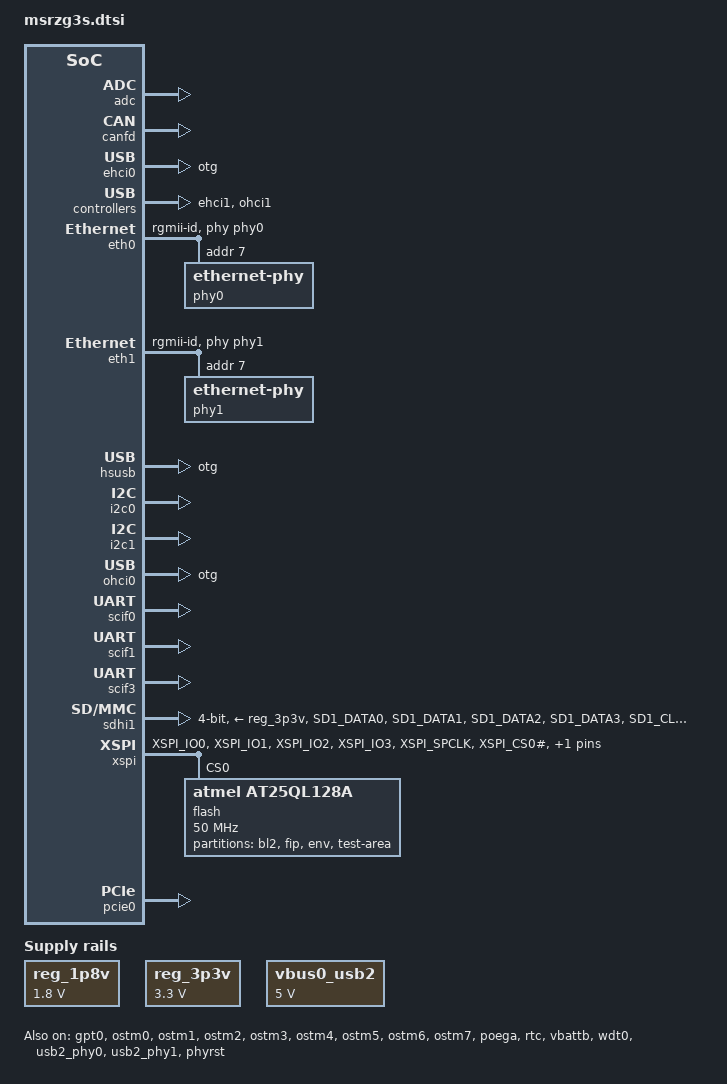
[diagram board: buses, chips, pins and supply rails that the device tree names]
// SPDX-License-Identifier: (GPL-2.0-only OR BSD-2-Clause)
/*
 * Device Tree Source for the ARIES embedded MSRZG3S OSM on G3SBerry board
 *
 * Copyright (C) 2025 ARIES Embedded
 */

#include <dt-bindings/gpio/gpio.h>
#include <dt-bindings/pinctrl/rzg2l-pinctrl.h>
#include <dt-bindings/input/input.h>

/ {
	aliases {
		serial0 = &scif0;
		serial1 = &scif1;
		serial2 = &scif3;
		i2c0 = &i2c0;
		i2c1 = &i2c1;
		mmc0 = &sdhi0;
		mmc1 = &sdhi1;
		eth0 = &eth0;
		eth1 = &eth1;
	};

	chosen {
		bootargs = "ignore_loglevel";
		stdout-path = "serial0:115200n8";
	};

	reg_1p8v: regulator0 {
		compatible = "regulator-fixed";
		regulator-name = "fixed-1.8V";
		regulator-min-microvolt = <1800000>;
		regulator-max-microvolt = <1800000>;
		regulator-boot-on;
		regulator-always-on;
	};

	reg_3p3v: regulator1 {
		compatible = "regulator-fixed";
		regulator-name = "fixed-3.3V";
		regulator-min-microvolt = <3300000>;
		regulator-max-microvolt = <3300000>;
		regulator-boot-on;
		regulator-always-on;
	};

	vbus0_usb2: regulator-vbus0-usb2 {
		compatible = "regulator-fixed";
		regulator-name = "USB20_VBUS0";
		regulator-min-microvolt = <5000000>;
		regulator-max-microvolt = <5000000>;
	};

};

&adc {
	pinctrl-0 = <&adc_pins>;
	pinctrl-names = "default";

	status = "okay";
};

&canfd {
	pinctrl-0 = <&can0_pins &can1_pins>;
	pinctrl-names = "default";
	status = "okay";

	channel0 {
		status = "okay";
	};

	channel1 {
		status = "okay";
	};
};

&ehci0 {
	dr_mode = "otg";
	status = "okay";
};

&ehci1 {
	status = "okay";
};

&eth0 {
	pinctrl-0 = <&eth0_pins>;
	pinctrl-names = "default";
	phy-handle = <&phy0>;
	phy-mode = "rgmii-id";
	status = "okay";

	phy0: ethernet-phy@7 {
		reg = <7>;
		rxc-skew-ps = <2400>;
		txc-skew-ps = <2400>;
		rxdv-skew-ps = <0>;
		txdv-skew-ps = <0>;
		rxd0-skew-ps = <0>;
		rxd1-skew-ps = <0>;
		rxd2-skew-ps = <0>;
		rxd3-skew-ps = <0>;
		txd0-skew-ps = <0>;
		txd1-skew-ps = <0>;
		txd2-skew-ps = <0>;
		txd3-skew-ps = <0>;
	};
};

&eth1 {
	pinctrl-0 = <&eth1_pins>;
	pinctrl-names = "default";
	phy-handle = <&phy1>;
	phy-mode = "rgmii-id";
	status = "okay";

	phy1: ethernet-phy@7 {
		reg = <7>;
		rxc-skew-ps = <2400>;
		txc-skew-ps = <2400>;
		rxdv-skew-psec = <0>;
		txen-skew-psec = <0>;
		rxd0-skew-psec = <0>;
		rxd1-skew-psec = <0>;
		rxd2-skew-psec = <0>;
		rxd3-skew-psec = <0>;
		txd0-skew-psec = <0>;
		txd1-skew-psec = <0>;
		txd2-skew-psec = <0>;
		txd3-skew-psec = <0>;
	};
};

&extal_clk {
	clock-frequency = <24000000>;
};

&hsusb {
	dr_mode = "otg";
	status = "okay";
};

&i2c0 {
	status = "okay";
};

&i2c1 {
	status = "okay";
};

&gpt0 {
	pinctrl-0 = <&gpt0_pins>;
	pinctrl-names = "default";
	channel = "both_AB";
	poeg = <&poega>;
	status = "okay";
};

&ohci0 {
	dr_mode = "otg";
	status = "okay";
};

&ohci1 {
	status = "okay";
};

&ostm0 {
	status = "okay";
};

&ostm1 {
	status = "okay";
};

&ostm2 {
	status = "okay";
};

&ostm3 {
	status = "okay";
};

&ostm4 {
	status = "okay";
};

&ostm5 {
	status = "okay";
};

&ostm6 {
	status = "okay";
};

&ostm7 {
	status = "okay";
};

&pinctrl {
	adc_pins: adc {
		pinmux = <RZG2L_PORT_PINMUX(5, 1, 4)>; /* ADC_TRG */
	};

	eth0_pins: eth0 {
		txc {
			pinmux = <RZG2L_PORT_PINMUX(1, 0, 1)>;  /* ET0_TXC */
			power-source = <1800>;
			output-enable;
			input-enable;
			drive-strength-microamp = <5200>;
		};

		tx_ctl {
			pinmux = <RZG2L_PORT_PINMUX(1, 1, 1)>;  /* ET0_TX_CTL */
			power-source = <1800>;
			output-enable;
			drive-strength-microamp = <5200>;
		};

		mux {
			pinmux = <RZG2L_PORT_PINMUX(1, 2, 1)>,	/* ET0_TXD0 */
				 <RZG2L_PORT_PINMUX(1, 3, 1)>,	/* ET0_TXD1 */
				 <RZG2L_PORT_PINMUX(1, 4, 1)>,	/* ET0_TXD2 */
				 <RZG2L_PORT_PINMUX(2, 0, 1)>,	/* ET0_TXD3 */
				 <RZG2L_PORT_PINMUX(3, 0, 1)>,	/* ET0_RXC */
				 <RZG2L_PORT_PINMUX(3, 1, 1)>,	/* ET0_RX_CTL */
				 <RZG2L_PORT_PINMUX(3, 2, 1)>,	/* ET0_RXD0 */
				 <RZG2L_PORT_PINMUX(3, 3, 1)>,	/* ET0_RXD1 */
				 <RZG2L_PORT_PINMUX(4, 0, 1)>,	/* ET0_RXD2 */
				 <RZG2L_PORT_PINMUX(4, 1, 1)>,	/* ET0_RXD3 */
				 <RZG2L_PORT_PINMUX(4, 3, 1)>,	/* ET0_MDC */
				 <RZG2L_PORT_PINMUX(4, 4, 1)>,	/* ET0_MDIO */
				 <RZG2L_PORT_PINMUX(4, 5, 1)>;	/* ET0_LINKSTA */
			power-source = <1800>;
		};
	};

	eth1_pins: eth1 {
		txc {
			pinmux = <RZG2L_PORT_PINMUX(7, 0, 1)>;	/* ET1_TXC */
			power-source = <1800>;
			output-enable;
			input-enable;
			drive-strength-microamp = <5200>;
		};

		tx_ctl {
			pinmux = <RZG2L_PORT_PINMUX(7, 1, 1)>;	/* ET1_TX_CTL */
			power-source = <1800>;
			output-enable;
			drive-strength-microamp = <5200>;
		};

		mux {
			pinmux = <RZG2L_PORT_PINMUX(7, 2, 1)>,	/* ET1_TXD0 */
				 <RZG2L_PORT_PINMUX(7, 3, 1)>,	/* ET1_TXD1 */
				 <RZG2L_PORT_PINMUX(7, 4, 1)>,	/* ET1_TXD2 */
				 <RZG2L_PORT_PINMUX(8, 0, 1)>,	/* ET1_TXD3 */
				 <RZG2L_PORT_PINMUX(8, 4, 1)>,	/* ET1_RXC */
				 <RZG2L_PORT_PINMUX(9, 0, 1)>,	/* ET1_RX_CTL */
				 <RZG2L_PORT_PINMUX(9, 1, 1)>,	/* ET1_RXD0 */
				 <RZG2L_PORT_PINMUX(9, 2, 1)>,	/* ET1_RXD1 */
				 <RZG2L_PORT_PINMUX(9, 3, 1)>,	/* ET1_RXD2 */
				 <RZG2L_PORT_PINMUX(10, 0, 1)>,	/* ET1_RXD3 */
				 <RZG2L_PORT_PINMUX(10, 2, 1)>,	/* ET1_MDC */
				 <RZG2L_PORT_PINMUX(10, 3, 1)>,	/* ET1_MDIO */
				 <RZG2L_PORT_PINMUX(10, 4, 1)>;	/* ET1_LINKSTA */
			power-source = <1800>;
		};
	};

	sdhi0_pins: sd0 {
		data {
			pins = "SD0_DATA0", "SD0_DATA1", "SD0_DATA2", "SD0_DATA3",
			       "SD0_DATA4", "SD0_DATA5", "SD0_DATA6", "SD0_DATA7";
			power-source = <1800>;
		};

		ctrl {
			pins = "SD0_CLK", "SD0_CMD", "SD0_RST#";
			power-source = <1800>;
		};

		rst {
			pins = "SD0_RST#";
			power-source = <1800>;
		};
	};

	sdhi1_pins: sd1 {
		data {
			pins = "SD1_DATA0", "SD1_DATA1", "SD1_DATA2", "SD1_DATA3";
			power-source = <3300>;
		};

		ctrl {
			pins = "SD1_CLK", "SD1_CMD";
			power-source = <3300>;
		};

		cd {
			pinmux = <RZG2L_PORT_PINMUX(0, 2, 1)>; /* SD1_CD */
		};
	};

	//sdhi1_uhs_pins: sd1-uhs {
	//	data {
	//		pins = "SD1_DATA0", "SD1_DATA1", "SD1_DATA2", "SD1_DATA3";
	//		power-source = <1800>;
	//	};
	//
	//	ctrl {
	//		pins = "SD1_CLK", "SD1_CMD";
	//		power-source = <1800>;
	//	};
	//
	//	cd {
	//		pinmux = <RZG2L_PORT_PINMUX(0, 2, 1)>; /* SD1_CD */
	//	};
	//};

	xspi_pins: xspi {
		xspi-data {
			pins = "XSPI_IO0", "XSPI_IO1", "XSPI_IO2", "XSPI_IO3";
			power-source = <1800>;
		};

		xspi-ctrl {
			pins = "XSPI_SPCLK", "XSPI_CS0#", "XSPI_RESET#";
			power-source = <1800>;
		};
	};

	gpt0_pins: gpt {
		pinmux = <RZG2L_PORT_PINMUX(13, 0, 2)>, /* GTIOC0A - GPIO8 */
			 <RZG2L_PORT_PINMUX(13, 1, 2)>; /* GTIOC0B - GPIO9 */
	};

	poega_pins: poega {
		pinmux = <RZG2L_PORT_PINMUX(18, 0, 6)>; /* GTERGA - GPIO4 */
	};

	/* CONS */
	scif0_pins: scif0 {
		pinmux = <RZG2L_PORT_PINMUX(6, 3, 1)>, /* RXD */
			 <RZG2L_PORT_PINMUX(6, 4, 1)>; /* TXD */
	};

	/* UART_A */
	scif1_pins: scif1 {
		pinmux = <RZG2L_PORT_PINMUX(14, 0, 1)>, /* TXD */
			 <RZG2L_PORT_PINMUX(14, 1, 1)>, /* RXD */
			 <RZG2L_PORT_PINMUX(16, 0, 1)>, /* CTS# */
			 <RZG2L_PORT_PINMUX(16, 1, 1)>; /* RTS# */
	};

	/* UART_B */
	scif3_pins: scif3 {
		pinmux = <RZG2L_PORT_PINMUX(17, 3, 7)>, /* TXD */
			 <RZG2L_PORT_PINMUX(17, 2, 7)>; /* RXD */
	};

	can0_pins: can0 {
		pinmux = <RZG2L_PORT_PINMUX(6, 1, 3)>, /* TX */
			 <RZG2L_PORT_PINMUX(6, 2, 3)>; /* RX */
	};

	can1_pins: can1 {
		pinmux = <RZG2L_PORT_PINMUX(17, 0, 3)>, /* TX */
			 <RZG2L_PORT_PINMUX(17, 1, 3)>; /* RX */
	};

	usb0_pins: usb0 {
		peri {
			pinmux = <RZG2L_PORT_PINMUX(5, 0, 1)>, /* VBUS */
				 <RZG2L_PORT_PINMUX(5, 2, 1)>; /* OVC */
		};

		otg {
			pinmux = <RZG2L_PORT_PINMUX(5, 3, 1)>; /* OTG_ID */
			bias-pull-up;
		};
	};

	usb1_pins: usb1 {
		pinmux = <RZG2L_PORT_PINMUX(5, 4, 5)>, /* OVC */
			 <RZG2L_PORT_PINMUX(6, 0, 1)>; /* VBUS */
	};

	pcie0_pins: pcie0 {
		pinmux = <RZG2L_PORT_PINMUX(13, 3, 2)>, /* PCIE_CLKREQ_N */
			 <RZG2L_PORT_PINMUX(13, 2, 2)>; /* PCIE_RST_OUT# */
	};
};

&poega {
	pinctrl-0 = <&poega_pins>;
	pinctrl-names = "default";
	status = "okay";
};

&rtc {
	status = "okay";
};

&scif0 {
	pinctrl-names = "default";
	pinctrl-0 = <&scif0_pins>;
	status = "okay";
};

&scif1 {
	pinctrl-0 = <&scif1_pins>;
	pinctrl-names = "default";
	uart-has-rtscts;
	status = "okay";
};

&scif3 {
	pinctrl-0 = <&scif3_pins>;
	pinctrl-names = "default";
	status = "okay";
};

/* micro-SD card */
&sdhi1 {
	pinctrl-0 = <&sdhi1_pins>;
	pinctrl-1 = <&sdhi1_pins>;
	pinctrl-names = "default", "state_uhs";
	vmmc-supply = <&reg_3p3v>;
	vqmmc-supply = <&reg_3p3v>;
	bus-width = <4>;
	//sd-uhs-sdr50;
	//sd-uhs-sdr104;
	//max-frequency = <125000000>;
	max-frequency = <50000000>;
	status = "okay";
};

&vbattb {
	status = "okay";
};

&wdt0 {
	status = "okay";
	timeout-sec = <60>;
};

&xspi {
	pinctrl-0 = <&xspi_pins>;
	pinctrl-names = "default";

	status = "okay";

	flash@0 {
		compatible = "atmel,at25ql128a", "jedec,spi-nor";
		reg = <0>;
		m25p,fast-read;
		spi-max-frequency = <50000000>;
		spi-tx-bus-width = <4>;
		spi-rx-bus-width = <4>;

		partitions {
			compatible = "fixed-partitions";
			#address-cells = <1>;
			#size-cells = <1>;

			partition@000000 {
				label = "bl2";
				reg = <0x00000000 0x0001D200>;
				read-only;
			};
			partition@01D200 {
				label = "fip";
				reg = <0x0001D200 0x001C2E00>;
				read-only;
			};
			partition@1E0000 {
				label = "env";
				reg = <0x001E0000 0x00020000>;
				read-only;
			};
			partition@200000 {
				label = "test-area";
				reg = <0x00200000 0x00E00000>;
			};
		};
	};
};

&usb2_phy0 {
	pinctrl-0 = <&usb0_pins>;
	pinctrl-names = "default";

	vbus-supply = <&vbus0_usb2>;
	status = "okay";
};

&usb2_phy1 {
	pinctrl-0 = <&usb1_pins>;
	pinctrl-names = "default";

	status = "okay";
};

&phyrst {
	status = "okay";
};

&pcie0 {
	status = "okay";

	pinctrl-0 = <&pcie0_pins>;
	pinctrl-names = "default";
};
